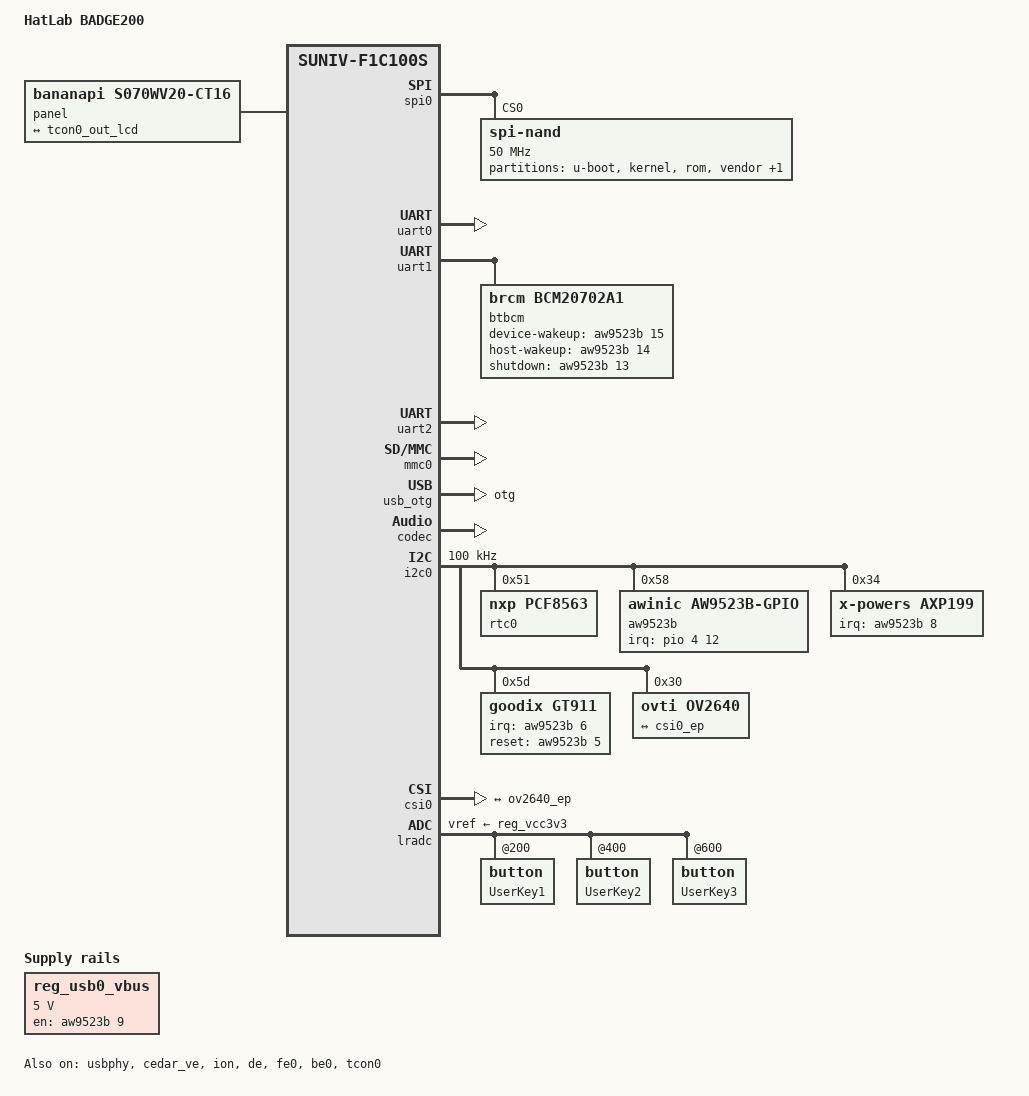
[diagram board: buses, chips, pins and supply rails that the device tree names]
// SPDX-License-Identifier: (GPL-2.0+ OR X11)

/dts-v1/;
#include "suniv-f1c100s.dtsi"
#include "dt-bindings/input/input.h"

/ {
	model = "HatLab BADGE200";
	compatible = "allwinner,suniv-f1c200s",
			 "allwinner,suniv-f1c100s";

	chosen {
		#address-cells = <1>;
		#size-cells = <1>;
		ranges;

		bootargs = "console=ttyS0,115200 rootwait init=/preinit root=/dev/mtdblock2 rootfstype=squashfs";
	};

	panel: panel {
		compatible = "bananapi,s070wv20-ct16", "simple-panel";
		#address-cells = <1>;
		#size-cells = <0>;

		port@0 {
			reg = <0>;
			#address-cells = <1>;
			#size-cells = <0>;

			panel_input: endpoint@0 {
				reg = <0>;
				remote-endpoint = <&tcon0_out_lcd>;
			};
		};
	};
};

&reg_usb0_vbus {
	compatible = "regulator-fixed";
	regulator-name = "usb0_vbus";
	regulator-min-microvolt = <5000000>;
	regulator-max-microvolt = <5000000>;
	gpio = <&aw9523b 9 GPIO_ACTIVE_HIGH>;
	startup-delay-us = <300>;
	enable-active-high;
	status = "okay";
};

&spi0 {
	status = "okay";

	spi-nand@0 {
		#address-cells = <1>;
		#size-cells = <1>;
		compatible = "spi-nand";
		reg = <0>;
		spi-max-frequency = <50000000>;

		partitions {
			compatible = "fixed-partitions";
			#address-cells = <1>;
			#size-cells = <1>;

			partition@0 {
				label = "u-boot";
				reg = <0x000000 0x100000>;
				read-only;
			};

			partition@1 {
				label = "kernel";
				reg = <0x100000 0x500000>;
				read-only;
			};

			partition@2 {
				label = "rom";
				reg = <0x600000 0x2a00000>;
				read-only;
			};

			partition@3 {
				label = "vendor";
				reg = <0x3000000 0x1000000>;
			};

			partition@4 {
				label = "overlay";
				reg = <0x4000000 0x3000000>;
			};
		};
	};
};

&uart0 {
	pinctrl-names = "default";
	pinctrl-0 = <&uart0_pe_pins>;
	status = "okay";
};

&uart1 {
	pinctrl-names = "default";
	pinctrl-0 = <&uart1_pa_pins>, <&uart1_pa_rcts_pins>;
	uart-has-rtscts;
	status = "okay";

	btbcm: bluetooth {
		compatible = "brcm,bcm20702a1";
		max-speed = <115200>;
		device-wakeup-gpios = <&aw9523b 15 GPIO_ACTIVE_HIGH>;
		host-wakeup-gpios = <&aw9523b 14 GPIO_ACTIVE_HIGH>;
		shutdown-gpios = <&aw9523b 13 GPIO_ACTIVE_HIGH>;
	};
};

&uart2 {
	pinctrl-names = "default";
	pinctrl-0 = <&uart2_pe_pins>;
	status = "okay";
};

&mmc0 {
	status = "okay";
	broken-cd;
};

&otg_sram {
	status = "okay";
};

&usb_otg {
	dr_mode = "otg";
	status = "okay";
};

&usbphy {
	usb0_id_det-gpio = <&aw9523b 12 GPIO_ACTIVE_HIGH>;
	usb0_vbus-supply = <&reg_usb0_vbus>;
	status = "okay";
};

&cedar_ve {
	status = "okay";
};

&ion {
	status = "okay";
};

&de {
	status = "okay";
};

&fe0 {
	status = "okay";
};

&be0 {
	status = "okay";
};

&tcon0 {
	pinctrl-names = "default";
	pinctrl-0 = <&lcd_rgb565_pins>;
	status = "okay";
};

&tcon0_out {
	tcon0_out_lcd: endpoint@0 {
		reg = <0>;
		remote-endpoint = <&panel_input>;
	};
};

&codec {
	allwinner,audio-routing =
		"Headphone", "HP",
		"Headphone", "HPCOM",
		"LINEIN", "Line In",
		"FMINL", "Left FM In",
		"FMINR", "Right FM In",
		"MIC", "Mic";
	status = "okay";
};

&pio {
	aw9523b_pins: aw9523b-pins {
		pins = "PE12";
		function = "gpio_in";
		bias-pull-up;
	};
};

&i2c0 {
	pinctrl-names = "default";
	pinctrl-0 = <&i2c0_pd_pins>;
	clock-frequency = <100000>;
	status = "okay";

	rtc0: pcf8563@51 {
		compatible = "nxp,pcf8563";
		reg = <0x51>;
	};

	aw9523b: gpio-expander@5b {
		compatible = "awinic,aw9523b-gpio";
		reg = <0x58>;
		pinctrl-names = "default";
		pinctrl-0 = <&aw9523b_pins>;
		interrupt-parent = <&pio>;
		interrupts = <4 12 IRQ_TYPE_LEVEL_LOW>;
		gpio-controller;
		#gpio-cells = <2>;
		interrupt-controller;
		#interrupt-cells = <2>;
		wakeup-source;
	};

	axp199: pmic@34 {
		compatible = "x-powers,axp199";
		reg = <0x34>;
		interrupt-parent = <&aw9523b>;
		interrupts = <8 IRQ_TYPE_EDGE_FALLING>;
		interrupt-controller;
		#interrupt-cells = <1>;
		status = "okay";

		axp_adc: adc {
			compatible = "x-powers,axp209-adc";
			#io-channel-cells = <1>;
		};

		ac_power_supply: ac-power-supply {
			compatible = "x-powers,axp202-ac-power-supply";
		};

		battery_power_supply: battery-power-supply {
			compatible = "x-powers,axp209-battery-power-supply";
		};

		usb_power_supply: usb-power-supply {
			compatible = "x-powers,axp202-usb-power-supply";
		};
	};

	gt911: ctp@5d {
		compatible = "goodix,gt911";
		reg = <0x5d>;
		interrupt-parent = <&aw9523b>;
		interrupts = <6 IRQ_TYPE_EDGE_FALLING>;
		irq-gpios = <&aw9523b 6 GPIO_ACTIVE_HIGH>;
		reset-gpios = <&aw9523b 5 GPIO_ACTIVE_HIGH>;
	};

	ov2640: camera@30 {
		compatible = "ovti,ov2640";
		reg = <0x30>;
		pinctrl-0 = <&clk_out_pins>;
		pinctrl-names = "default";
		clocks = <&clk_out>;
		clock-names = "xvclk";
		assigned-clocks = <&clk_out>;
		assigned-clock-rates = <24000000>;

		port {
			ov2640_ep: endpoint {
				remote-endpoint = <&csi0_ep>;
				bus-width = <8>;
				hsync-active = <0>;
				vsync-active = <0>;
				pclk-sample = <1>;
			};
		};
	};
};

&csi0 {
	pinctrl-names = "default";
	pinctrl-0 = <&csi0_pins>;
	packed-format;
	status = "okay";

	port {
		csi0_ep: endpoint {
			remote-endpoint = <&ov2640_ep>;
			bus-width = <8>;
			hsync-active = <0>;
			vsync-active = <0>;
			pclk-sample = <1>;
		};
	};
};

&lradc {
	vref-supply = <&reg_vcc3v3>;
	status = "okay";

	button@200 {
		label = "UserKey1";
		linux,code = <KEY_1>;
		channel = <0>;
		voltage = <200000>;
	};

	button@400 {
		label = "UserKey2";
		linux,code = <KEY_2>;
		channel = <0>;
		voltage = <400000>;
	};

	button@600 {
		label = "UserKey3";
		linux,code = <KEY_3>;
		channel = <0>;
		voltage = <600000>;
	};
};
